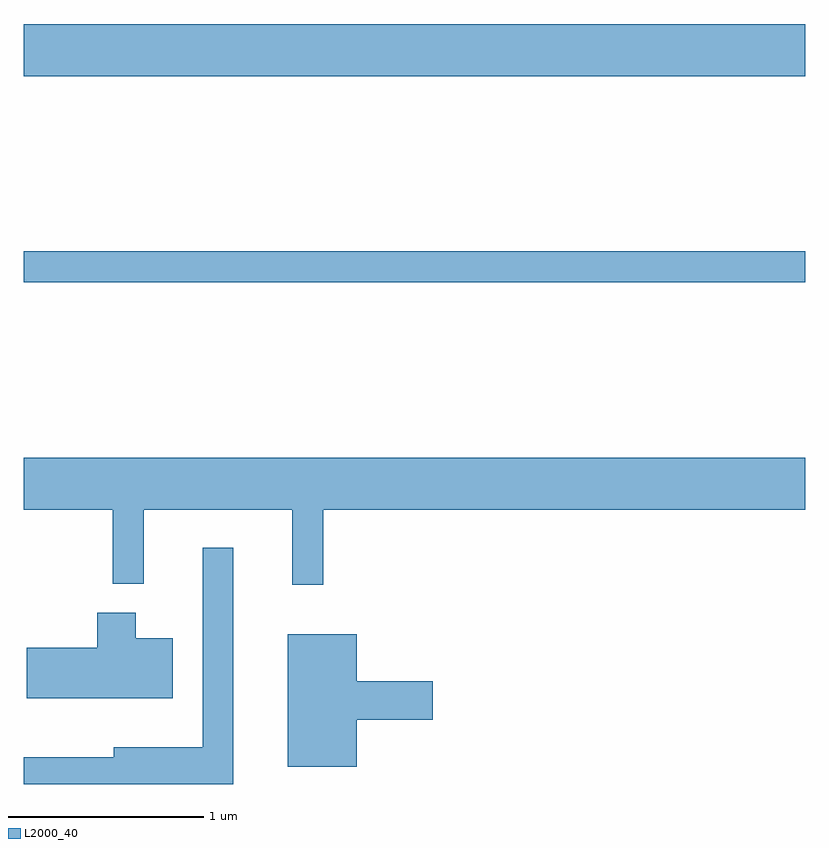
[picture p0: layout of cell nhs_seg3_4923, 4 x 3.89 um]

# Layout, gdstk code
import gdstk
lib = gdstk.Library(unit=1e-6, precision=1e-09)
def R(c, l, rs):  # rectangles x0, y0, x1, y1
    for r in rs: c.add(gdstk.rectangle(r[:2], r[2:], *l))
def P(c, l, *ps):  # polygons
    for p in ps: c.add(gdstk.Polygon(p, *l))
L2000_40 = (2000, 40)

nhs_seg3_4923 = lib.new_cell('nhs_seg3_4923')
R(nhs_seg3_4923, L2000_40, [(329.611,1180.461,333.611,1180.619), (329.611,1181.516,333.611,1181.784)])
P(nhs_seg3_4923, L2000_40, [(331.144,1179.296),(333.611,1179.296),(333.611,1179.564),(329.611,1179.564),(329.611,1179.296),(330.066,1179.296),(330.066,1178.918),(330.224,1178.918),(330.224,1179.296),(330.986,1179.296),(330.986,1178.913),(331.144,1178.913)],
  [(330.684,1179.103),(330.526,1179.103),(330.526,1178.079),(330.071,1178.079),(330.071,1178.029),(329.611,1178.029),(329.611,1177.892),(330.684,1177.892)],
  [(330.374,1178.639),(330.184,1178.639),(330.184,1178.769),(329.986,1178.769),(329.986,1178.589),(329.626,1178.589),(329.626,1178.331),(330.374,1178.331)],
  [(331.314,1178.221),(331.704,1178.221),(331.704,1178.419),(331.314,1178.419),(331.314,1178.659),(330.961,1178.659),(330.961,1177.981),(331.314,1177.981)])

lib.write_gds('nhs_seg3_4923.gds')
